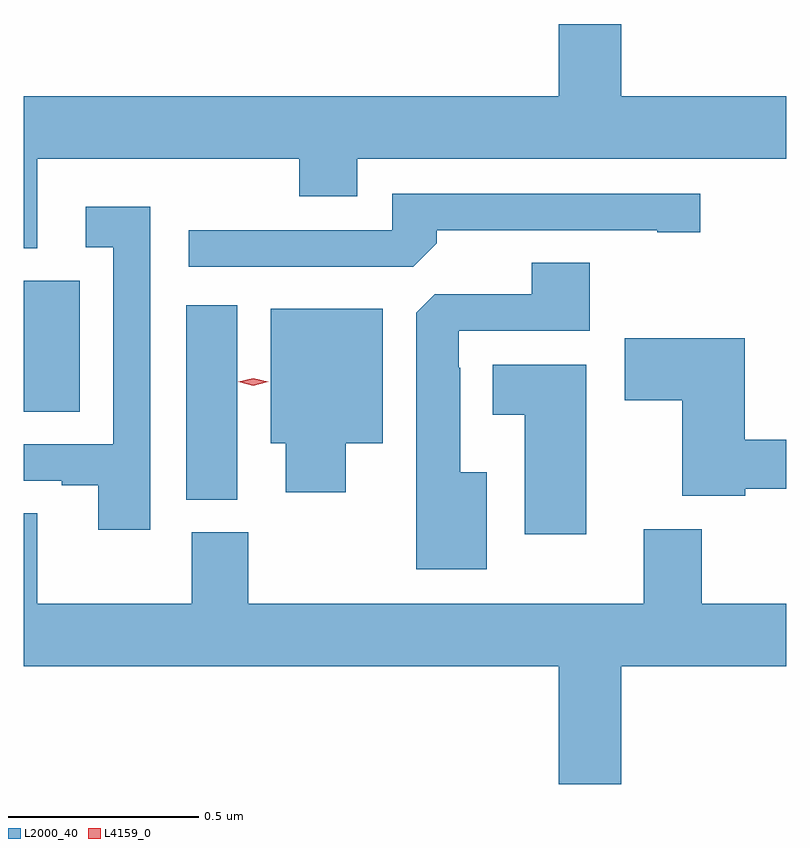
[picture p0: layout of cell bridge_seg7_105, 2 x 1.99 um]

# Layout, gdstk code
import gdstk
lib = gdstk.Library(unit=1e-6, precision=1e-09)
def R(c, l, rs):  # rectangles x0, y0, x1, y1
    for r in rs: c.add(gdstk.rectangle(r[:2], r[2:], *l))
def P(c, l, *ps):  # polygons
    for p in ps: c.add(gdstk.Polygon(p, *l))
L2000_40 = (2000, 40)
L4159_0 = (4159, 0)

bridge_seg7_105 = lib.new_cell('bridge_seg7_105')
R(bridge_seg7_105, L2000_40, [(1063.13,1021.033,1063.264,1021.543), (1062.704,1021.264,1062.85,1021.608)])
P(bridge_seg7_105, L2000_40, [(1062.739,1021.928),(1063.427,1021.928),(1063.427,1021.829),(1063.579,1021.829),(1063.579,1021.928),(1064.704,1021.928),(1064.704,1022.092),(1064.272,1022.092),(1064.272,1022.281),(1064.108,1022.281),(1064.108,1022.092),(1062.704,1022.092),(1062.704,1021.693),(1062.739,1021.693)],
  [(1063.787,1021.706),(1063.787,1021.74),(1064.366,1021.74),(1064.366,1021.735),(1064.479,1021.735),(1064.479,1021.836),(1063.671,1021.836),(1063.671,1021.74),(1063.137,1021.74),(1063.137,1021.644),(1063.725,1021.644)],
  [(1063.035,1021.801),(1062.867,1021.801),(1062.867,1021.695),(1062.939,1021.695),(1062.939,1021.179),(1062.704,1021.179),(1062.704,1021.083),(1062.803,1021.083),(1062.803,1021.071),(1062.899,1021.071),(1062.899,1020.954),(1063.035,1020.954)],
  [(1063.918,1021.105),(1063.849,1021.105),(1063.849,1021.379),(1063.845,1021.379),(1063.845,1021.476),(1064.189,1021.476),(1064.189,1021.655),(1064.036,1021.655),(1064.036,1021.572),(1063.782,1021.572),(1063.733,1021.523),(1063.733,1020.851),(1063.918,1020.851)],
  [(1063.549,1021.181),(1063.645,1021.181),(1063.645,1021.534),(1063.352,1021.534),(1063.352,1021.181),(1063.391,1021.181),(1063.391,1021.053),(1063.549,1021.053)],
  [(1064.597,1021.062),(1064.704,1021.062),(1064.704,1021.19),(1064.595,1021.19),(1064.595,1021.456),(1064.28,1021.456),(1064.28,1021.294),(1064.432,1021.294),(1064.432,1021.043),(1064.597,1021.043)],
  [(1064.179,1021.387),(1063.934,1021.387),(1063.934,1021.256),(1064.018,1021.256),(1064.018,1020.942),(1064.179,1020.942)],
  [(1064.272,1020.596),(1064.704,1020.596),(1064.704,1020.76),(1064.483,1020.76),(1064.483,1020.955),(1064.33,1020.955),(1064.33,1020.76),(1063.293,1020.76),(1063.293,1020.948),(1063.145,1020.948),(1063.145,1020.76),(1062.739,1020.76),(1062.739,1020.998),(1062.704,1020.998),(1062.704,1020.596),(1064.108,1020.596),(1064.108,1020.287),(1064.272,1020.287)])
P(bridge_seg7_105, L4159_0, [(1063.306,1021.332),(1063.266,1021.342),(1063.266,1021.343),(1063.266,1021.343),(1063.306,1021.352),(1063.345,1021.342),(1063.345,1021.342),(1063.345,1021.342)])

lib.write_gds('bridge_seg7_105.gds')
